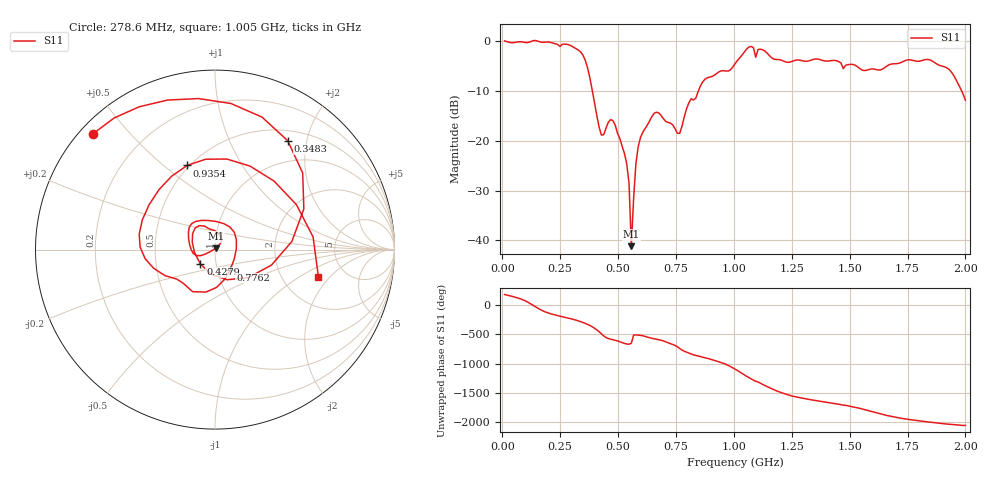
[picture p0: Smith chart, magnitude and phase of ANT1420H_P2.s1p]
!Created with skrf (http://scikit-rf.org).
# Hz S RI R 50.0
!freq ReS11 ImS11
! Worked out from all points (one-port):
!   201 points, 10 MHz to 2 GHz, reference 50 ohm
!   lowest |S11| = -41.2 dB at 557.2 MHz (marker M1), VSWR 1.02, Z = 50.4 + j0.798 ohm
!   |S11| at or under -10 dB: 389.1 MHz to 846.4 MHz (457.2 MHz wide, 74 % of centre); 1.984 GHz to end of sweep
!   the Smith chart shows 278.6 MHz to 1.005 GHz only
!   S11 on the Smith chart (normalised r, x): 278.6 MHz: 0.04, +0.40; 348.3 MHz: 0.65, +1.68; 427.9 MHz: 0.84, -0.14; 776.1 MHz: 1.15, -0.26; 935.4 MHz: 0.49, +0.60; 1.005 GHz: 3.18, -1.50
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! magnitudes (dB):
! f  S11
! 10 MHz  0.1
! 258.8 MHz  -0.6
! 278.6 MHz  -0.6
! 348.3 MHz  -2.7
! 368.2 MHz  -5.3
! 427.9 MHz  -18.8
! 467.7 MHz  -15.7
! 507.5 MHz  -19.5
! 537.4 MHz  -24.6
! 547.3 MHz  -28.5
! 557.2 MHz  -41.2
! 577.1 MHz  -24.5
! 597 MHz  -19.3
! 666.7 MHz  -14.2
! 756.2 MHz  -18.5
! 776.1 MHz  -17.0
! 816 MHz  -11.5
! 935.4 MHz  -6.1
! 1.005 GHz  -4.5
! 1.075 GHz  -1.0
! 1.095 GHz  -3.2
! 1.114 GHz  -1.6
! 1.254 GHz  -4.0
! 1.502 GHz  -4.6
! 1.632 GHz  -5.7
! 1.751 GHz  -3.7
! 1.92 GHz  -5.3
! 2 GHz  -11.8
